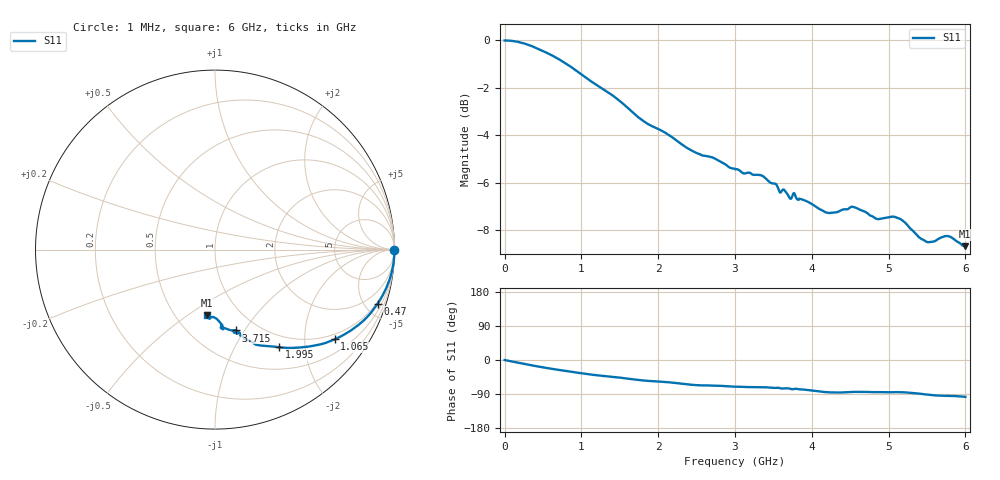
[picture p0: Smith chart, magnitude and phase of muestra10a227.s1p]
! COPPER MOUNTAIN TECHNOLOGIES, R60, 23103002, 24.3.3/3.0
! Date: 23/10/2026 12:23:36
! Data: Format [Calibration Info]
! Frequency		S11: Re/Im RO
# HZ S RI R 50
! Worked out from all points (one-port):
!   1280 points, 1 MHz to 6 GHz, reference 50 ohm
!   lowest |S11| = -8.7 dB at 5.99 GHz (marker M1), VSWR 2.17, Z = 35.2 - j29.8 ohm
!   |S11| at or under -10 dB: nowhere
!   S11 on the Smith chart (normalised r, x): 1 MHz: open; 470 MHz: 0.89, -6.06; 1.065 GHz: 0.85, -2.77; 1.995 GHz: 0.81, -1.54; 3.715 GHz: 0.80, -0.92; 6 GHz: 0.70, -0.59
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1000000  0.9999 -0.00056
2.2e8  0.9776 -0.1517
4.7e8  0.9062 -0.3008
6.15e8  0.8547 -0.3679
7.55e8  0.8004 -0.4189
1.065e9  0.6673 -0.4996
1.245e9  0.5993 -0.525
1.505e9  0.5112 -0.5414
1.77e9  0.4082 -0.5481
1.995e9  0.3574 -0.5443
2.255e9  0.2935 -0.5378
2.52e9  0.2297 -0.5298
2.76e9  0.213 -0.5193
3.005e9  0.1783 -0.5045
3.355e9  0.1609 -0.493
3.715e9  0.1162 -0.4502
3.755e9  0.1055 -0.4619
3.805e9  0.1102 -0.4501
4.2e9  0.0373 -0.4317
4.355e9  0.0318 -0.4352
4.505e9  0.042 -0.4434
4.85e9  0.0396 -0.4184
5.095e9  0.0378 -0.4222
5.255e9  0.0278 -0.4052
5.495e9  -0.00689 -0.3762
5.77e9  -0.0309 -0.3859
5.99e9  -0.0457 -0.3656
6e9  -0.047 -0.3656
